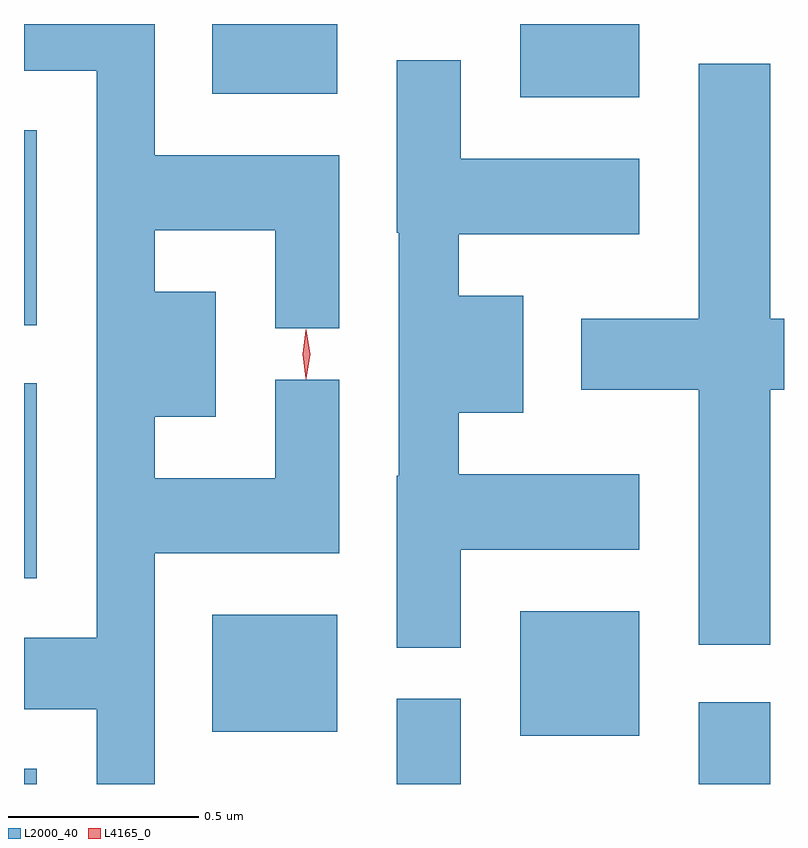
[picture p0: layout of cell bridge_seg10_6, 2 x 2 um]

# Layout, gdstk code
import gdstk
lib = gdstk.Library(unit=1e-6, precision=1e-09)
def R(c, l, rs):  # rectangles x0, y0, x1, y1
    for r in rs: c.add(gdstk.rectangle(r[:2], r[2:], *l))
def P(c, l, *ps):  # polygons
    for p in ps: c.add(gdstk.Polygon(p, *l))
L2000_40 = (2000, 40)
L4165_0 = (4165, 0)

bridge_seg10_6 = lib.new_cell('bridge_seg10_6')
R(bridge_seg10_6, L2000_40, [(1912.05,2162.999,1912.084,2163.039), (1913.031,2162.999,1913.199,2163.223), (1913.826,2162.999,1914.014,2163.214), (1913.356,2163.126,1913.669,2163.454), (1912.546,2163.136,1912.874,2163.444), (1912.05,2163.541,1912.084,2164.054), (1912.05,2164.206,1912.084,2164.719), (1913.356,2164.806,1913.669,2164.999), (1912.546,2164.816,1912.874,2164.999)])
P(bridge_seg10_6, L2000_40, [(1912.394,2163.606),(1912.879,2163.606),(1912.879,2164.063),(1912.711,2164.063),(1912.711,2163.804),(1912.394,2163.804),(1912.394,2163.966),(1912.554,2163.966),(1912.554,2164.294),(1912.394,2164.294),(1912.394,2164.456),(1912.711,2164.456),(1912.711,2164.198),(1912.879,2164.198),(1912.879,2164.654),(1912.394,2164.654),(1912.394,2164.999),(1912.05,2164.999),(1912.05,2164.876),(1912.241,2164.876),(1912.241,2163.384),(1912.05,2163.384),(1912.05,2163.196),(1912.241,2163.196),(1912.241,2162.999),(1912.394,2162.999)],
  [(1913.199,2163.616),(1913.669,2163.616),(1913.669,2163.814),(1913.194,2163.814),(1913.194,2163.976),(1913.364,2163.976),(1913.364,2164.284),(1913.194,2164.284),(1913.194,2164.446),(1913.669,2164.446),(1913.669,2164.644),(1913.199,2164.644),(1913.199,2164.903),(1913.031,2164.903),(1913.031,2164.45),(1913.036,2164.45),(1913.036,2163.81),(1913.031,2163.81),(1913.031,2163.358),(1913.199,2163.358)],
  [(1914.014,2164.036),(1914.05,2164.036),(1914.05,2164.224),(1914.014,2164.224),(1914.014,2164.894),(1913.826,2164.894),(1913.826,2164.224),(1913.516,2164.224),(1913.516,2164.036),(1913.826,2164.036),(1913.826,2163.366),(1914.014,2163.366)])
P(bridge_seg10_6, L4165_0, [(1912.793,2164.064),(1912.792,2164.065),(1912.783,2164.13),(1912.792,2164.195),(1912.793,2164.196),(1912.793,2164.195),(1912.803,2164.13),(1912.793,2164.065)])

lib.write_gds('bridge_seg10_6.gds')
